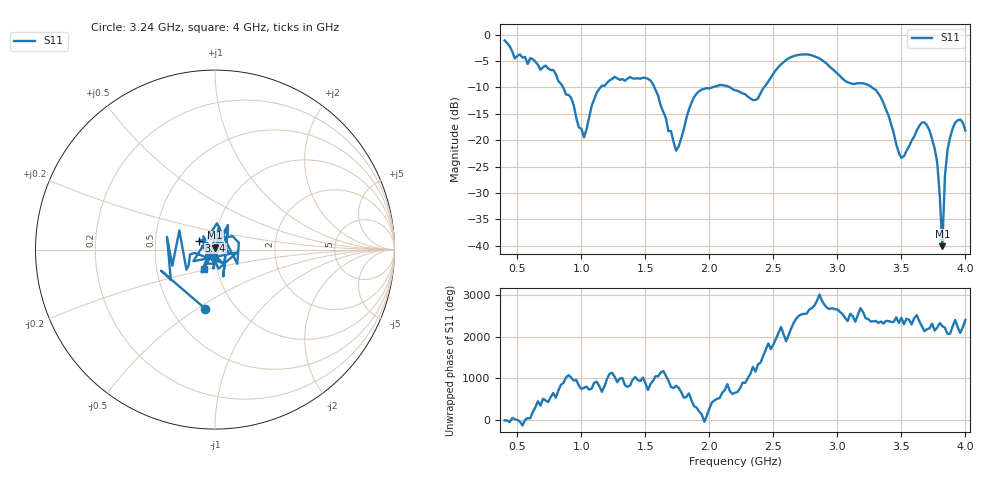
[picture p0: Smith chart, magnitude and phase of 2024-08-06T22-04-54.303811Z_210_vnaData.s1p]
!Created with skrf (http://scikit-rf.org).
# Hz S RI R 50.0
!freq ReS11 ImS11
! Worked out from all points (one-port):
!   181 points, 400 MHz to 4 GHz, reference 50 ohm
!   lowest |S11| = -40.1 dB at 3.82 GHz (marker M1), VSWR 1.02, Z = 50 + j0.992 ohm
!   |S11| at or under -10 dB: 857.1 MHz to 1.15 GHz (292.4 MHz wide, 29.1 % of centre); 1.57 GHz to 2.022 GHz (452.2 MHz wide, 25.2 % of centre); 3.27 GHz to end of sweep (the widest 3 of 4)
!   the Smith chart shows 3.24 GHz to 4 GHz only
!   S11 on the Smith chart (normalised r, x): 3.24 GHz: 0.73, -0.54; 3.74 GHz: 0.83, +0.09; 4 GHz: 0.86, -0.19
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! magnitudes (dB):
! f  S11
! 400 MHz  -1.1
! 480 MHz  -4.5
! 780 MHz  -6.7
! 860 MHz  -10.1
! 1.02 GHz  -19.5
! 1.12 GHz  -11.0
! 1.3 GHz  -8.6
! 1.54 GHz  -8.7
! 1.74 GHz  -22.0
! 1.76 GHz  -21.2
! 1.92 GHz  -10.7
! 2.2 GHz  -10.6
! 2.36 GHz  -12.4
! 2.66 GHz  -4.1
! 2.86 GHz  -4.5
! 3.1 GHz  -9.2
! 3.24 GHz  -9.5
! 3.36 GHz  -12.9
! 3.5 GHz  -23.3
! 3.56 GHz  -21.2
! 3.66 GHz  -16.7
! 3.74 GHz  -19.8
! 3.78 GHz  -24.2
! 3.82 GHz  -40.1
! 3.84 GHz  -26.9
! 3.86 GHz  -21.9
! 3.92 GHz  -16.7
! 4 GHz  -18.2
